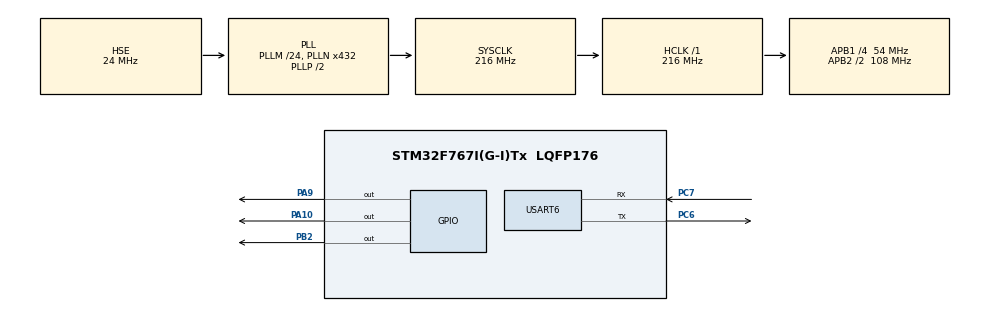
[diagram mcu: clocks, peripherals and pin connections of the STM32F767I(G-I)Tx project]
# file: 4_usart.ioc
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Mcu.Family=STM32F7
Mcu.Name=STM32F767I(G-I)Tx
Mcu.Package=LQFP176
NVIC.PriorityGroup=NVIC_PRIORITYGROUP_4
NVIC.USART6_IRQn=true\:0\:0\:false\:false\:true
PA10.GPIO_PuPd=GPIO_PULLUP
PA10.GPIO_Speed=GPIO_SPEED_FREQ_VERY_HIGH
PA10.PinState=GPIO_PIN_SET
PA10.Signal=GPIO_Output
PA9.GPIO_ModeDefaultOutputPP=GPIO_MODE_OUTPUT_PP
PA9.GPIO_PuPd=GPIO_PULLUP
PA9.GPIO_Speed=GPIO_SPEED_FREQ_VERY_HIGH
PA9.PinState=GPIO_PIN_SET
PA9.Signal=GPIO_Output
PB2.GPIO_PuPd=GPIO_PULLUP
PB2.GPIO_Speed=GPIO_SPEED_FREQ_VERY_HIGH
PB2.PinState=GPIO_PIN_SET
PB2.Signal=GPIO_Output
PC6.Mode=Asynchronous
PC6.Signal=USART6_TX
PC7.Mode=Asynchronous
PC7.Signal=USART6_RX
PH0/OSC_IN.Mode=HSE-External-Oscillator
PH0/OSC_IN.Signal=RCC_OSC_IN
PH1/OSC_OUT.Mode=HSE-External-Oscillator
PH1/OSC_OUT.Signal=RCC_OSC_OUT
ProjectManager.HeapSize=0x200
ProjectManager.StackSize=0x400
ProjectManager.TargetToolchain=MDK-ARM V5
RCC.AHBFreq_Value=216000000
RCC.APB1CLKDivider=RCC_HCLK_DIV4
RCC.APB1Freq_Value=54000000
RCC.APB1TimFreq_Value=108000000
RCC.APB2CLKDivider=RCC_HCLK_DIV2
RCC.APB2Freq_Value=108000000
RCC.APB2TimFreq_Value=216000000
RCC.CortexFreq_Value=216000000
RCC.HCLKFreq_Value=216000000
RCC.HSE_VALUE=24000000
RCC.HSI_VALUE=16000000
RCC.LSE_VALUE=32768
RCC.PLLM=24
RCC.PLLN=432
RCC.PLLSourceVirtual=RCC_PLLSOURCE_HSE
RCC.SYSCLKFreq_VALUE=216000000
RCC.SYSCLKSource=RCC_SYSCLKSOURCE_PLLCLK
RCC.USBFreq_Value=216000000
RCC.VCOOutputFreq_Value=432000000
USART6.VirtualMode-Asynchronous=VM_ASYNC
USART6.WordLength=WORDLENGTH_8B
board=4_usart

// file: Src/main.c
/**
  ******************************************************************************
  * File Name          : main.c
  * Description        : Main program body
  ******************************************************************************
  ** This notice applies to any and all portions of this file
  * that are not between comment pairs USER CODE BEGIN and
  * USER CODE END. Other portions of this file, whether
  * inserted by the user or by software development tools
  * are owned by their respective copyright owners.
  *
  * COPYRIGHT(c) 2017 STMicroelectronics
  *
  * Redistribution and use in source and binary forms, with or without modification,
  * are permitted provided that the following conditions are met:
  *   1. Redistributions of source code must retain the above copyright notice,
  *      this list of conditions and the following disclaimer.
  *   2. Redistributions in binary form must reproduce the above copyright notice,
  *      this list of conditions and the following disclaimer in the documentation
  *      and/or other materials provided with the distribution.
  *   3. Neither the name of STMicroelectronics nor the names of its contributors
  *      may be used to endorse or promote products derived from this software
  *      without specific prior written permission.
  *
  * THIS SOFTWARE IS PROVIDED BY THE COPYRIGHT HOLDERS AND CONTRIBUTORS "AS IS"
  * AND ANY EXPRESS OR IMPLIED WARRANTIES, INCLUDING, BUT NOT LIMITED TO, THE
  * IMPLIED WARRANTIES OF MERCHANTABILITY AND FITNESS FOR A PARTICULAR PURPOSE ARE
  * DISCLAIMED. IN NO EVENT SHALL THE COPYRIGHT HOLDER OR CONTRIBUTORS BE LIABLE
  * FOR ANY DIRECT, INDIRECT, INCIDENTAL, SPECIAL, EXEMPLARY, OR CONSEQUENTIAL
  * DAMAGES (INCLUDING, BUT NOT LIMITED TO, PROCUREMENT OF SUBSTITUTE GOODS OR
  * SERVICES; LOSS OF USE, DATA, OR PROFITS; OR BUSINESS INTERRUPTION) HOWEVER
  * CAUSED AND ON ANY THEORY OF LIABILITY, WHETHER IN CONTRACT, STRICT LIABILITY,
  * OR TORT (INCLUDING NEGLIGENCE OR OTHERWISE) ARISING IN ANY WAY OUT OF THE USE
  * OF THIS SOFTWARE, EVEN IF ADVISED OF THE POSSIBILITY OF SUCH DAMAGE.
  *
  ******************************************************************************
  */
#include "main.h"
#include "stm32f7xx_hal.h"
#include "usart.h"
#include "gpio.h"

/* USER CODE BEGIN Includes */
#include "usart6.h"
#include <ctype.h>
#include <string.h>
#include <stdlib.h>
#include <stdio.h>
/* USER CODE END Includes */

/* USER CODE BEGIN PV */
/* Private variables ---------------------------------------------------------*/

/* USER CODE END PV */

void SystemClock_Config(void);

/* USER CODE BEGIN PFP */
/* Private function prototypes -----------------------------------------------*/

/* USER CODE END PFP */

/* USER CODE BEGIN 0 */
/*
  实验现象:
    通过串口输入命令可以控制LED灯的亮灭
	串口命令：
		LED_RED_ON\CR\LF---->打开红色LED
		LED_RED_OFF\CR\LF--->关闭红色LED
		LED_GREEN_ON\CR\LF-->打开绿色LED
		LED_GREEN_OFF\CR\LF->关闭绿色LED
		LED_BLUE_ON\CR\LF--->打开蓝色LED
		LED_BLUE_OFF\CR\LF-->关闭蓝色LED
*/
/* USER CODE END 0 */

int main(void)
{

  /* USER CODE BEGIN 1 */
	int i;
	char buffer[20];
  /* USER CODE END 1 */

  /* MCU Configuration----------------------------------------------------------*/

  /* Reset of all peripherals, Initializes the Flash interface and the Systick. */
  HAL_Init();

  /* Configure the system clock */
  SystemClock_Config();

  /* Initialize all configured peripherals */
  MX_GPIO_Init();
  MX_USART6_UART_Init();

  /* USER CODE BEGIN 2 */
	usart6.initialize(9600);																						  //串口波特设置
	usart6.printf("Hello, I am iCore4!\r\n");															//串口信息输出

  /* USER CODE END 2 */

  /* Infinite loop */
  while (1)
  {

  /* USER CODE BEGIN 3 */
		if(usart6.receive_ok_flag){                                          //接收完成
			usart6.receive_ok_flag = 0;
			for(i = 0;i < 20;i++){
				buffer[i] = tolower(usart6.receive_buffer[i]);
			}
			//比较接收信息
			if(memcmp(buffer,"led_red_on",strlen("led_red_on")) == 0){
				LED_RED_ON;
				usart6.printf("ok!\r\n");
			}
			if(memcmp(buffer,"led_red_off",strlen("led_red_off")) == 0){
				LED_RED_OFF;
				usart6.printf("ok!\r\n");
			}
			if(memcmp(buffer,"led_green_on",strlen("led_green_on")) == 0){
				LED_GREEN_ON;
				usart6.printf("ok!\r\n");
			}
			if(memcmp(buffer,"led_green_off",strlen("led_green_off")) == 0){
				LED_GREEN_OFF;
				usart6.printf("ok!\r\n");
			}
			if(memcmp(buffer,"led_blue_on",strlen("led_blue_on")) == 0){
				LED_BLUE_ON;
				usart6.printf("ok!\r\n");
			}
			if(memcmp(buffer,"led_blue_off",strlen("led_blue_off")) == 0){
				LED_BLUE_OFF;
				usart6.printf("ok!\r\n");
			}
		}
  }
  /* USER CODE END 3 */

}

/** System Clock Configuration
*/
void SystemClock_Config(void)
{

  RCC_OscInitTypeDef RCC_OscInitStruct;
  RCC_ClkInitTypeDef RCC_ClkInitStruct;
  RCC_PeriphCLKInitTypeDef PeriphClkInitStruct;

    /**Configure the main internal regulator output voltage
    */
  __HAL_RCC_PWR_CLK_ENABLE();

  __HAL_PWR_VOLTAGESCALING_CONFIG(PWR_REGULATOR_VOLTAGE_SCALE1);

    /**Initializes the CPU, AHB and APB busses clocks
    */
  RCC_OscInitStruct.OscillatorType = RCC_OSCILLATORTYPE_HSE;
  RCC_OscInitStruct.HSEState = RCC_HSE_ON;
  RCC_OscInitStruct.PLL.PLLState = RCC_PLL_ON;
  RCC_OscInitStruct.PLL.PLLSource = RCC_PLLSOURCE_HSE;
  RCC_OscInitStruct.PLL.PLLM = 24;
  RCC_OscInitStruct.PLL.PLLN = 432;
  RCC_OscInitStruct.PLL.PLLP = RCC_PLLP_DIV2;
  RCC_OscInitStruct.PLL.PLLQ = 2;
  if (HAL_RCC_OscConfig(&RCC_OscInitStruct) != HAL_OK)
  {
    _Error_Handler(__FILE__, __LINE__);
  }

    /**Activate the Over-Drive mode
    */
  if (HAL_PWREx_EnableOverDrive() != HAL_OK)
  {
    _Error_Handler(__FILE__, __LINE__);
  }

    /**Initializes the CPU, AHB and APB busses clocks
    */
  RCC_ClkInitStruct.ClockType = RCC_CLOCKTYPE_HCLK|RCC_CLOCKTYPE_SYSCLK
                              |RCC_CLOCKTYPE_PCLK1|RCC_CLOCKTYPE_PCLK2;
  RCC_ClkInitStruct.SYSCLKSource = RCC_SYSCLKSOURCE_PLLCLK;
  RCC_ClkInitStruct.AHBCLKDivider = RCC_SYSCLK_DIV1;
  RCC_ClkInitStruct.APB1CLKDivider = RCC_HCLK_DIV4;
  RCC_ClkInitStruct.APB2CLKDivider = RCC_HCLK_DIV2;

  if (HAL_RCC_ClockConfig(&RCC_ClkInitStruct, FLASH_LATENCY_7) != HAL_OK)
  {
    _Error_Handler(__FILE__, __LINE__);
  }

  PeriphClkInitStruct.PeriphClockSelection = RCC_PERIPHCLK_USART6;
  PeriphClkInitStruct.Usart6ClockSelection = RCC_USART6CLKSOURCE_PCLK2;
  if (HAL_RCCEx_PeriphCLKConfig(&PeriphClkInitStruct) != HAL_OK)
  {
    _Error_Handler(__FILE__, __LINE__);
  }

    /**Configure the Systick interrupt time
    */
  HAL_SYSTICK_Config(HAL_RCC_GetHCLKFreq()/1000);

    /**Configure the Systick
    */
  HAL_SYSTICK_CLKSourceConfig(SYSTICK_CLKSOURCE_HCLK);

  /* SysTick_IRQn interrupt configuration */
  HAL_NVIC_SetPriority(SysTick_IRQn, 0, 0);
}

void _Error_Handler(char * file, int line)
{
  while(1)
  {
  }
}

/************************ (C) COPYRIGHT STMicroelectronics *****END OF FILE****/
